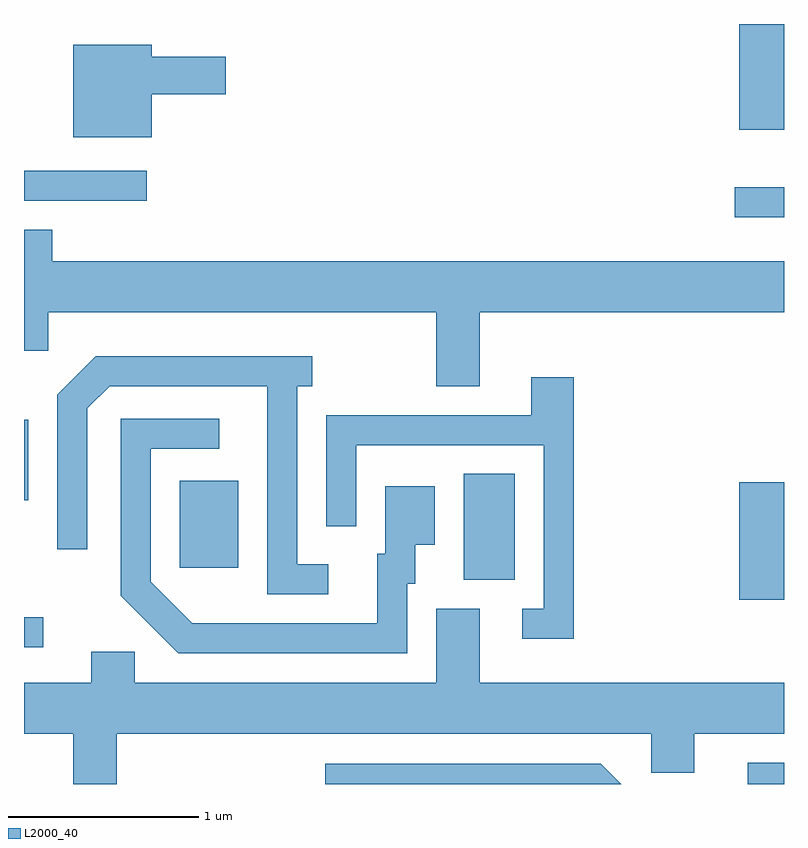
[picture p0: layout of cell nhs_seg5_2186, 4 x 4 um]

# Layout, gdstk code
import gdstk
lib = gdstk.Library(unit=1e-6, precision=1e-09)
def R(c, l, rs):  # rectangles x0, y0, x1, y1
    for r in rs: c.add(gdstk.rectangle(r[:2], r[2:], *l))
def P(c, l, *ps):  # polygons
    for p in ps: c.add(gdstk.Polygon(p, *l))
L2000_40 = (2000, 40)

nhs_seg5_2186 = lib.new_cell('nhs_seg5_2186')
R(nhs_seg5_2186, L2000_40, [(253.421,1472.072,253.611,1472.184), (249.611,1472.791,249.713,1472.949), (253.376,1473.041,253.611,1473.659), (251.926,1473.146,252.194,1473.704), (250.431,1473.211,250.739,1473.669), (249.611,1473.566,249.634,1473.989), (253.353,1475.056,253.611,1475.214), (249.611,1475.141,250.258,1475.299), (253.376,1475.516,253.611,1476.072)])
P(nhs_seg5_2186, L2000_40, [(250.284,1475.701),(250.674,1475.701),(250.674,1475.899),(250.284,1475.899),(250.284,1475.964),(249.871,1475.964),(249.871,1475.476),(250.284,1475.476)],
  [(252.009,1474.556),(253.611,1474.556),(253.611,1474.824),(249.759,1474.824),(249.759,1474.989),(249.611,1474.989),(249.611,1474.351),(249.739,1474.351),(249.739,1474.556),(251.781,1474.556),(251.781,1474.166),(252.009,1474.166)],
  [(251.213,1473.229),(251.049,1473.229),(251.049,1474.166),(251.128,1474.166),(251.128,1474.324),(249.989,1474.324),(249.786,1474.122),(249.786,1473.308),(249.944,1473.308),(249.944,1474.049),(250.062,1474.166),(250.891,1474.166),(250.891,1473.071),(251.213,1473.071)],
  [(252.504,1474.214),(252.281,1474.214),(252.281,1474.014),(251.201,1474.014),(251.201,1473.428),(251.359,1473.428),(251.359,1473.856),(252.346,1473.856),(252.346,1472.994),(252.233,1472.994),(252.233,1472.836),(252.504,1472.836)],
  [(251.629,1473.126),(251.669,1473.126),(251.669,1473.331),(251.774,1473.331),(251.774,1473.639),(251.511,1473.639),(251.511,1473.284),(251.471,1473.284),(251.471,1472.919),(250.497,1472.919),(250.279,1473.137),(250.279,1473.836),(250.638,1473.836),(250.638,1473.994),(250.121,1473.994),(250.121,1473.064),(250.424,1472.761),(251.629,1472.761)],
  [(250.099,1472.336),(252.911,1472.336),(252.911,1472.131),(253.139,1472.131),(253.139,1472.336),(253.611,1472.336),(253.611,1472.604),(252.009,1472.604),(252.009,1472.994),(251.781,1472.994),(251.781,1472.604),(250.194,1472.604),(250.194,1472.769),(249.966,1472.769),(249.966,1472.604),(249.611,1472.604),(249.611,1472.336),(249.871,1472.336),(249.871,1472.072),(250.099,1472.072)],
  [(252.647,1472.179),(251.196,1472.179),(251.196,1472.072),(252.754,1472.072)])

lib.write_gds('nhs_seg5_2186.gds')
